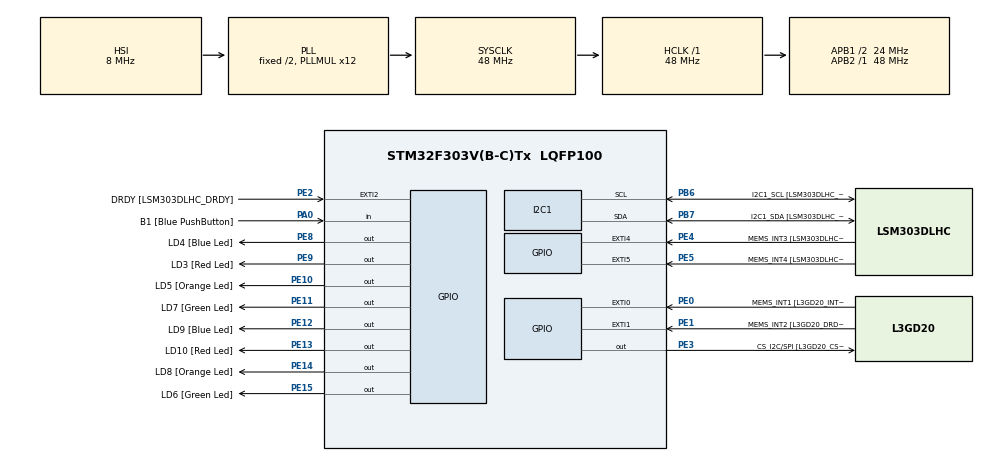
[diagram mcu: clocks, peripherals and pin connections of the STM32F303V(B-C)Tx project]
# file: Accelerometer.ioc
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Mcu.Family=STM32F3
PE12.GPIO_ModeDefaultOutputPP=GPIO_MODE_OUTPUT_PP
PE14.GPIO_Speed=GPIO_SPEED_FREQ_LOW
RCC.CortexFreq_Value=48000000
PB6.GPIO_Mode=GPIO_MODE_AF_OD
PE11.GPIO_Label=LD7 [Green Led]
PA14.GPIO_Label=SWCLK
PE8.GPIO_PuPd=GPIO_NOPULL
RCC.SYSCLKSourceVirtual=RCC_SYSCLKSOURCE_PLLCLK
PB7.GPIO_FM7=__NULL
PA7.GPIO_Mode=GPIO_MODE_AF_PP
PA0.GPIO_Label=B1 [Blue PushButton]
PE9.GPIO_Speed=GPIO_SPEED_FREQ_LOW
PE10.GPIO_PuPd=GPIO_NOPULL
PA6.GPIO_Label=SPI1_MISO [L3GD20_SA0/SDO]
PB6.GPIO_Label=I2C1_SCL [LSM303DLHC_SCL]
PC15-OSC32_OUT.GPIO_Label=OSC32_OUT
ProjectManager.StackSize=0x400
PA6.GPIO_Mode=GPIO_MODE_AF_PP
PB7.GPIO_Mode=GPIO_MODE_AF_OD
PA12.Signal=USB_DP
PE5.GPIO_PuPd=GPIO_NOPULL
PE11.GPIO_PuPd=GPIO_NOPULL
RCC.HCLKFreq_Value=48000000
RCC.APB2TimFreq_Value=48000000
PB6.Signal=I2C1_SCL
PB6.Mode=I2C
PE5.Signal=GPXTI5
PE1.Signal=GPXTI1
RCC.AHBFreq_Value=48000000
RCC.HSE_VALUE=8000000
PF0-OSC_IN.GPIO_Label=OSC_IN
PE13.GPIO_PuPd=GPIO_NOPULL
RCC.PLLMUL=RCC_PLL_MUL12
PA6.GPIO_PuPd=GPIO_NOPULL
PE13.Signal=GPIO_Output
PE9.Signal=GPIO_Output
PA5.GPIO_PuPd=GPIO_NOPULL
PE4.GPIO_Label=MEMS_INT3 [LSM303DLHC_INT1]
PE10.GPIO_ModeDefaultOutputPP=GPIO_MODE_OUTPUT_PP
PE2.Signal=GPXTI2
PB7.Signal=I2C1_SDA
PE10.GPIO_Speed=GPIO_SPEED_FREQ_LOW
PE10.Signal=GPIO_Output
PE4.Signal=GPXTI4
PA0.Signal=GPIO_Input
PB7.GPIO_Label=I2C1_SDA [LSM303DLHC_SDA]
Mcu.Package=LQFP100
PA6.Signal=SPI1_MISO
PB6.GPIO_FM6=__NULL
PA0.GPIO_PuPd=GPIO_NOPULL
PE12.GPIO_Label=LD9 [Blue Led]
PE12.GPIO_Speed=GPIO_SPEED_FREQ_LOW
PE0.GPIO_Label=MEMS_INT1 [L3GD20_INT1]
PE8.GPIO_Speed=GPIO_SPEED_FREQ_LOW
RCC.APB1TimFreq_Value=48000000
PE8.GPIO_ModeDefaultOutputPP=GPIO_MODE_OUTPUT_PP
PC14-OSC32_IN.GPIO_Label=OSC32_IN
PA6.GPIO_Speed=GPIO_SPEED_FREQ_LOW
PE10.GPIO_Label=LD5 [Orange Led]
PE2.GPIO_Label=DRDY [LSM303DLHC_DRDY]
PF1-OSC_OUT.Signal=RCC_OSC_OUT
PE12.GPIO_PuPd=GPIO_NOPULL
PB7.GPIO_Speed=GPIO_SPEED_FREQ_LOW
PE14.GPIO_ModeDefaultOutputPP=GPIO_MODE_OUTPUT_PP
PB3.GPIO_Label=SWO
PE0.GPIO_PuPd=GPIO_NOPULL
PB7.GPIO_PuPd=GPIO_NOPULL
PE11.GPIO_Speed=GPIO_SPEED_FREQ_LOW
PB6.GPIO_PuPd=GPIO_NOPULL
PE4.GPIO_ModeDefaultEXTI=GPIO_MODE_EVT_RISING
PA0.GPIO_Mode=GPIO_MODE_INPUT
PA11.GPIO_Label=DM
PE14.GPIO_Label=LD8 [Orange Led]
PE1.GPIO_PuPd=GPIO_NOPULL
PE1.GPIO_ModeDefaultEXTI=GPIO_MODE_EVT_RISING
RCC.APB1CLKDivider=RCC_HCLK_DIV2
PC14-OSC32_IN.Signal=RCC_OSC32_IN
PA12.GPIO_Label=DP
PA13.Signal=SYS_JTMS-SWDIO
PE15.GPIO_Label=LD6 [Green Led]
ProjectManager.TargetToolchain=STM32CubeIDE
PE5.GPIO_ModeDefaultEXTI=GPIO_MODE_EVT_RISING
PE8.GPIO_Label=LD4 [Blue Led]
PE0.GPIO_ModeDefaultEXTI=GPIO_MODE_EVT_RISING
RCC.USBFreq_Value=48000000
PE11.Signal=GPIO_Output
RCC.LSE_VALUE=32768
PC15-OSC32_OUT.Signal=RCC_OSC32_OUT
PE9.GPIO_Label=LD3 [Red Led]
PA7.GPIO_PuPd=GPIO_NOPULL
PE2.GPIO_PuPd=GPIO_NOPULL
PA5.Signal=SPI1_SCK
board=STM32F3DISCOVERY
PE1.GPIO_Label=MEMS_INT2 [L3GD20_DRDY/INT2]
PA7.GPIO_Speed=GPIO_SPEED_FREQ_LOW
RCC.APB2Freq_Value=48000000
PE14.Signal=GPIO_Output
PE15.Signal=GPIO_Output
PE8.Signal=GPIO_Output
PF1-OSC_OUT.GPIO_Label=OSC_OUT
PE3.GPIO_PuPd=GPIO_NOPULL
PE14.GPIO_PuPd=GPIO_NOPULL
Mcu.Name=STM32F303V(B-C)Tx
PE0.Signal=GPXTI0
PE12.Signal=GPIO_Output
PA13.GPIO_Label=SWDIO
PE4.GPIO_PuPd=GPIO_NOPULL
PB3.Signal=SYS_JTDO-TRACESWO
RCC.SYSCLKFreq_VALUE=48000000
PA7.GPIO_Label=SPI1_MISO [L3GD20_SDA/SDI/SDO]
PE13.GPIO_Label=LD10 [Red Led]
PA5.GPIO_Label=SPI1_SCK [L3GD20_SCL/SPC]
PE3.GPIO_Speed=GPIO_SPEED_FREQ_LOW
PE3.GPIO_ModeDefaultOutputPP=GPIO_MODE_OUTPUT_PP
PE11.GPIO_ModeDefaultOutputPP=GPIO_MODE_OUTPUT_PP
PE13.GPIO_ModeDefaultOutputPP=GPIO_MODE_OUTPUT_PP
PE5.GPIO_Label=MEMS_INT4 [LSM303DLHC_INT2]
PA11.Signal=USB_DM
PB7.Mode=I2C
PA14.Signal=SYS_JTCK-SWCLK
PE15.GPIO_PuPd=GPIO_NOPULL
ProjectManager.HeapSize=0x200
RCC.HSI_VALUE=8000000
PA5.GPIO_Speed=GPIO_SPEED_FREQ_LOW
NVIC.PriorityGroup=NVIC_PRIORITYGROUP_0
PE15.GPIO_Speed=GPIO_SPEED_FREQ_LOW
PE13.GPIO_Speed=GPIO_SPEED_FREQ_LOW
PE3.Signal=GPIO_Output
PE3.GPIO_Label=CS_I2C/SPI [L3GD20_CS_I2C/SPI]
PE2.GPIO_ModeDefaultEXTI=GPIO_MODE_EVT_RISING
PE9.GPIO_ModeDefaultOutputPP=GPIO_MODE_OUTPUT_PP
PF0-OSC_IN.Signal=RCC_OSC_IN
PB6.GPIO_Speed=GPIO_SPEED_FREQ_LOW
RCC.APB1Freq_Value=24000000
PA5.GPIO_Mode=GPIO_MODE_AF_PP
PE15.GPIO_ModeDefaultOutputPP=GPIO_MODE_OUTPUT_PP
PA7.Signal=SPI1_MOSI
PE9.GPIO_PuPd=GPIO_NOPULL

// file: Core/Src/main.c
/* USER CODE BEGIN Header */
/**
  ******************************************************************************
  * @file           : main.c
  * @brief          : Main program body
  ******************************************************************************
  * @attention
  *
  * <h2><center>&copy; Copyright (c) 2021 STMicroelectronics.
  * All rights reserved.</center></h2>
  *
  * This software component is licensed by ST under BSD 3-Clause license,
  * the "License"; You may not use this file except in compliance with the
  * License. You may obtain a copy of the License at:
  *                        opensource.org/licenses/BSD-3-Clause
  *
  ******************************************************************************
  */
/* USER CODE END Header */
#include "main.h"

I2C_HandleTypeDef hi2c1;

void SystemClock_Config(void);
static void MX_GPIO_Init(void);
static void MX_I2C1_Init(void);

/* USER CODE BEGIN 0 */

// Slave address for acceleration sensor
const uint8_t slaveAddressWrite = 0x32;
const uint8_t slaveAddressRead = 0x33;

void SendData(uint8_t* writeRegister, uint8_t* sendData)
{
  uint8_t pData[2] = { *writeRegister, *sendData };
  HAL_I2C_Master_Transmit(&hi2c1, slaveAddressWrite, (uint8_t*)&pData, 2, 100);
}

void ReceiveData(uint8_t* readRegister, uint8_t* receiveData)
{
  HAL_I2C_Master_Transmit(&hi2c1, slaveAddressWrite, readRegister, 1, 100);
  HAL_I2C_Master_Receive(&hi2c1, slaveAddressRead, receiveData, 1, 100);
}

const uint8_t SAD_W = 0x32; // Slave Address + Write
const uint8_t SAD_R = 0x33; // Slave Address + Read

const uint32_t TIMEOUT = 10; // ms

void Accelerometer_ReadMultipleBytes(uint8_t* readRegister, uint8_t* receiveData, uint16_t size)
{
  HAL_I2C_Master_Transmit(&hi2c1, SAD_R, readRegister, 1, TIMEOUT);
  HAL_I2C_Master_Receive(&hi2c1, SAD_R, receiveData, size, TIMEOUT);
}

int16_t GetX()
{
  const uint8_t OUT_X_L_A = 0x28;
  const uint8_t SUB_INCR = 0x80 | OUT_X_L_A;  // auto increment sub-address (SUB) when MSB is set to '1'

  uint8_t data[2];

  Accelerometer_ReadMultipleBytes((uint8_t*)&SUB_INCR, (uint8_t*)&data, 2);

  return (data[1] << 8) | data[0];
}

int16_t GetY()
{
  const uint8_t OUT_Y_L_A = 0x2A;
  const uint8_t SUB_INCR = 0x80 | OUT_Y_L_A;  // auto increment sub-address (SUB) when MSB is set to '1'

  uint8_t data[2];

  Accelerometer_ReadMultipleBytes((uint8_t*)&SUB_INCR, (uint8_t*)&data, 2);

  return (data[1] << 8) | data[0];
}

int16_t GetZ()
{
  const uint8_t OUT_Z_L_A = 0x2C;
  const uint8_t SUB_INCR = 0x80 | OUT_Z_L_A;  // auto increment sub-address (SUB) when MSB is set to '1'

  uint8_t data[2];

  Accelerometer_ReadMultipleBytes((uint8_t*)&SUB_INCR, (uint8_t*)&data, 2);

  return (data[1] << 8) | data[0];
}

/* USER CODE END 0 */

int main(void)
{

  /* MCU Configuration--------------------------------------------------------*/

  /* Reset of all peripherals, Initializes the Flash interface and the Systick. */
  HAL_Init();

  /* Configure the system clock */
  SystemClock_Config();

  /* Initialize all configured peripherals */
  MX_GPIO_Init();
  MX_I2C1_Init();
  /* USER CODE BEGIN 2 */

  HAL_Delay(100);

  uint8_t whoamiaddress = 0x0f;
  uint8_t receiveData = 0;

  ReceiveData(&whoamiaddress, &receiveData);

  if (receiveData != 0b00110011)
  {
    Error_Handler();
  }

  // Turn on the shit
  uint8_t CTRL_REG1_A = 0x20;
  uint8_t writeData = 0b10010111; // 1001 0111 => 0x97
  SendData(&CTRL_REG1_A, &writeData);

  /* USER CODE END 2 */

  /* Infinite loop */
  /* USER CODE BEGIN WHILE */
  int16_t accelerationAlongX;
  int16_t accelerationAlongY;
  int16_t accelerationAlongZ;

  while (1)
  {
    /* USER CODE END WHILE */

    /* USER CODE BEGIN 3 */
    accelerationAlongX = GetX();
    accelerationAlongY = GetY();
    accelerationAlongZ = GetZ();

    HAL_Delay(100);
  }
  /* USER CODE END 3 */
}

void SystemClock_Config(void)
{
  RCC_OscInitTypeDef RCC_OscInitStruct = {0};
  RCC_ClkInitTypeDef RCC_ClkInitStruct = {0};
  RCC_PeriphCLKInitTypeDef PeriphClkInit = {0};

  /** Initializes the RCC Oscillators according to the specified parameters
  * in the RCC_OscInitTypeDef structure.
  */
  RCC_OscInitStruct.OscillatorType = RCC_OSCILLATORTYPE_HSI;
  RCC_OscInitStruct.HSIState = RCC_HSI_ON;
  RCC_OscInitStruct.HSICalibrationValue = RCC_HSICALIBRATION_DEFAULT;
  RCC_OscInitStruct.PLL.PLLState = RCC_PLL_ON;
  RCC_OscInitStruct.PLL.PLLSource = RCC_PLLSOURCE_HSI;
  RCC_OscInitStruct.PLL.PLLMUL = RCC_PLL_MUL12;
  if (HAL_RCC_OscConfig(&RCC_OscInitStruct) != HAL_OK)
  {
    Error_Handler();
  }
  /** Initializes the CPU, AHB and APB buses clocks
  */
  RCC_ClkInitStruct.ClockType = RCC_CLOCKTYPE_HCLK|RCC_CLOCKTYPE_SYSCLK
                              |RCC_CLOCKTYPE_PCLK1|RCC_CLOCKTYPE_PCLK2;
  RCC_ClkInitStruct.SYSCLKSource = RCC_SYSCLKSOURCE_PLLCLK;
  RCC_ClkInitStruct.AHBCLKDivider = RCC_SYSCLK_DIV1;
  RCC_ClkInitStruct.APB1CLKDivider = RCC_HCLK_DIV2;
  RCC_ClkInitStruct.APB2CLKDivider = RCC_HCLK_DIV1;

  if (HAL_RCC_ClockConfig(&RCC_ClkInitStruct, FLASH_LATENCY_1) != HAL_OK)
  {
    Error_Handler();
  }
  PeriphClkInit.PeriphClockSelection = RCC_PERIPHCLK_I2C1;
  PeriphClkInit.I2c1ClockSelection = RCC_I2C1CLKSOURCE_HSI;
  if (HAL_RCCEx_PeriphCLKConfig(&PeriphClkInit) != HAL_OK)
  {
    Error_Handler();
  }
}

static void MX_I2C1_Init(void)
{

  hi2c1.Instance = I2C1;
  hi2c1.Init.Timing = 0x2000090E;
  hi2c1.Init.OwnAddress1 = 0;
  hi2c1.Init.AddressingMode = I2C_ADDRESSINGMODE_7BIT;
  hi2c1.Init.DualAddressMode = I2C_DUALADDRESS_DISABLE;
  hi2c1.Init.OwnAddress2 = 0;
  hi2c1.Init.OwnAddress2Masks = I2C_OA2_NOMASK;
  hi2c1.Init.GeneralCallMode = I2C_GENERALCALL_DISABLE;
  hi2c1.Init.NoStretchMode = I2C_NOSTRETCH_DISABLE;
  if (HAL_I2C_Init(&hi2c1) != HAL_OK)
  {
    Error_Handler();
  }
  /** Configure Analogue filter
  */
  if (HAL_I2CEx_ConfigAnalogFilter(&hi2c1, I2C_ANALOGFILTER_ENABLE) != HAL_OK)
  {
    Error_Handler();
  }
  /** Configure Digital filter
  */
  if (HAL_I2CEx_ConfigDigitalFilter(&hi2c1, 0) != HAL_OK)
  {
    Error_Handler();
  }

}

static void MX_GPIO_Init(void)
{
  GPIO_InitTypeDef GPIO_InitStruct = {0};

  /* GPIO Ports Clock Enable */
  __HAL_RCC_GPIOE_CLK_ENABLE();
  __HAL_RCC_GPIOC_CLK_ENABLE();
  __HAL_RCC_GPIOF_CLK_ENABLE();
  __HAL_RCC_GPIOA_CLK_ENABLE();
  __HAL_RCC_GPIOB_CLK_ENABLE();

  /*Configure GPIO pin Output Level */
  HAL_GPIO_WritePin(GPIOE, CS_I2C_SPI_Pin|LD4_Pin|LD3_Pin|LD5_Pin
                          |LD7_Pin|LD9_Pin|LD10_Pin|LD8_Pin
                          |LD6_Pin, GPIO_PIN_RESET);

  /*Configure GPIO pins : DRDY_Pin MEMS_INT3_Pin MEMS_INT4_Pin MEMS_INT1_Pin
                           MEMS_INT2_Pin */
  GPIO_InitStruct.Pin = DRDY_Pin|MEMS_INT3_Pin|MEMS_INT4_Pin|MEMS_INT1_Pin
                          |MEMS_INT2_Pin;
  GPIO_InitStruct.Mode = GPIO_MODE_EVT_RISING;
  GPIO_InitStruct.Pull = GPIO_NOPULL;
  HAL_GPIO_Init(GPIOE, &GPIO_InitStruct);

  /*Configure GPIO pins : CS_I2C_SPI_Pin LD4_Pin LD3_Pin LD5_Pin
                           LD7_Pin LD9_Pin LD10_Pin LD8_Pin
                           LD6_Pin */
  GPIO_InitStruct.Pin = CS_I2C_SPI_Pin|LD4_Pin|LD3_Pin|LD5_Pin
                          |LD7_Pin|LD9_Pin|LD10_Pin|LD8_Pin
                          |LD6_Pin;
  GPIO_InitStruct.Mode = GPIO_MODE_OUTPUT_PP;
  GPIO_InitStruct.Pull = GPIO_NOPULL;
  GPIO_InitStruct.Speed = GPIO_SPEED_FREQ_LOW;
  HAL_GPIO_Init(GPIOE, &GPIO_InitStruct);

  /*Configure GPIO pin : B1_Pin */
  GPIO_InitStruct.Pin = B1_Pin;
  GPIO_InitStruct.Mode = GPIO_MODE_INPUT;
  GPIO_InitStruct.Pull = GPIO_NOPULL;
  HAL_GPIO_Init(B1_GPIO_Port, &GPIO_InitStruct);

  /*Configure GPIO pins : SPI1_SCK_Pin SPI1_MISO_Pin SPI1_MISOA7_Pin */
  GPIO_InitStruct.Pin = SPI1_SCK_Pin|SPI1_MISO_Pin|SPI1_MISOA7_Pin;
  GPIO_InitStruct.Mode = GPIO_MODE_AF_PP;
  GPIO_InitStruct.Pull = GPIO_NOPULL;
  GPIO_InitStruct.Speed = GPIO_SPEED_FREQ_LOW;
  GPIO_InitStruct.Alternate = GPIO_AF5_SPI1;
  HAL_GPIO_Init(GPIOA, &GPIO_InitStruct);

  /*Configure GPIO pins : DM_Pin DP_Pin */
  GPIO_InitStruct.Pin = DM_Pin|DP_Pin;
  GPIO_InitStruct.Mode = GPIO_MODE_AF_PP;
  GPIO_InitStruct.Pull = GPIO_NOPULL;
  GPIO_InitStruct.Speed = GPIO_SPEED_FREQ_HIGH;
  GPIO_InitStruct.Alternate = GPIO_AF14_USB;
  HAL_GPIO_Init(GPIOA, &GPIO_InitStruct);

}

void Error_Handler(void)
{
  __disable_irq();
  while (1)
  {
  }
}

/************************ (C) COPYRIGHT STMicroelectronics *****END OF FILE****/
